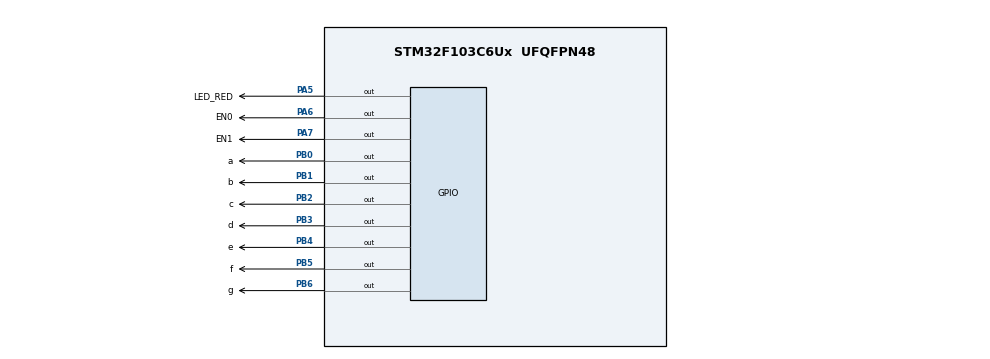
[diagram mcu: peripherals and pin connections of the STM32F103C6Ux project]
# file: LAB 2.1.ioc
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Mcu.Family=STM32F1
Mcu.Name=STM32F103C6Ux
Mcu.Package=UFQFPN48
NVIC.PriorityGroup=NVIC_PRIORITYGROUP_4
NVIC.TIM2_IRQn=true\:0\:0\:false\:false\:true\:true\:true
PA5.GPIO_Label=LED_RED
PA5.Signal=GPIO_Output
PA6.GPIO_Label=EN0
PA6.Signal=GPIO_Output
PA7.GPIO_Label=EN1
PA7.Signal=GPIO_Output
PB0.GPIO_Label=a
PB0.Signal=GPIO_Output
PB1.GPIO_Label=b
PB1.Signal=GPIO_Output
PB2.GPIO_Label=c
PB2.Signal=GPIO_Output
PB3.GPIO_Label=d
PB3.Signal=GPIO_Output
PB4.GPIO_Label=e
PB4.Signal=GPIO_Output
PB5.GPIO_Label=f
PB5.Signal=GPIO_Output
PB6.GPIO_Label=g
PB6.Signal=GPIO_Output
ProjectManager.HeapSize=0x200
ProjectManager.StackSize=0x400
ProjectManager.TargetToolchain=STM32CubeIDE
RCC.APB1Freq_Value=8000000
RCC.APB2Freq_Value=8000000
TIM2.Period=9
TIM2.Prescaler=7999
VP_SYS_VS_ND.Mode=No_Debug
VP_TIM2_VS_ClockSourceINT.Mode=Internal
board=custom

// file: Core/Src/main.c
/* USER CODE BEGIN Header */
/**
  ******************************************************************************
  * @file           : main.c
  * @brief          : Main program body
  ******************************************************************************
  * @attention
  *
  * <h2><center>&copy; Copyright (c) 2025 STMicroelectronics.
  * All rights reserved.</center></h2>
  *
  * This software component is licensed by ST under BSD 3-Clause license,
  * the "License"; You may not use this file except in compliance with the
  * License. You may obtain a copy of the License at:
  *                        opensource.org/licenses/BSD-3-Clause
  *
  ******************************************************************************
  */
/* USER CODE END Header */
#include "main.h"

TIM_HandleTypeDef htim2;

void SystemClock_Config(void);
static void MX_GPIO_Init(void);
static void MX_TIM2_Init(void);
void display7SEG(int num);

int main(void)
{

  /* MCU Configuration--------------------------------------------------------*/

  /* Reset of all peripherals, Initializes the Flash interface and the Systick. */
  HAL_Init();

  /* Configure the system clock */
  SystemClock_Config();

  /* Initialize all configured peripherals */
  MX_GPIO_Init();
  MX_TIM2_Init();
  /* USER CODE BEGIN 2 */
  HAL_TIM_Base_Start_IT (& htim2 );
  /* USER CODE END 2 */

  /* Infinite loop */
  while (1)
  {
  }
}

void display7SEG(int num)
{
	if(num>=0 && num<=9){
	 if(num==0){
		   HAL_GPIO_WritePin(a_GPIO_Port, a_Pin, 0);
		   HAL_GPIO_WritePin(a_GPIO_Port, b_Pin, 0);
		   HAL_GPIO_WritePin(a_GPIO_Port, c_Pin, 0);
		   HAL_GPIO_WritePin(a_GPIO_Port, d_Pin, 0);
		   HAL_GPIO_WritePin(a_GPIO_Port, e_Pin, 0);
		   HAL_GPIO_WritePin(a_GPIO_Port, f_Pin, 0);
		   HAL_GPIO_WritePin(a_GPIO_Port, g_Pin, 1);
	 }
	 if (num==1){
	 		HAL_GPIO_WritePin(a_GPIO_Port, a_Pin, 1);
	 		HAL_GPIO_WritePin(a_GPIO_Port, b_Pin, 0);
	 		HAL_GPIO_WritePin(a_GPIO_Port, c_Pin, 0);
	 		HAL_GPIO_WritePin(a_GPIO_Port, d_Pin, 1);
	 		HAL_GPIO_WritePin(a_GPIO_Port, e_Pin, 1);
	 		HAL_GPIO_WritePin(a_GPIO_Port, f_Pin, 1);
	 		HAL_GPIO_WritePin(a_GPIO_Port, g_Pin, 1);
	 	}
	 	else if (num==2){
	 		HAL_GPIO_WritePin(a_GPIO_Port, a_Pin, 0);
	 		HAL_GPIO_WritePin(a_GPIO_Port, b_Pin, 0);
	 		HAL_GPIO_WritePin(a_GPIO_Port, c_Pin, 1);
	 		HAL_GPIO_WritePin(a_GPIO_Port, d_Pin, 0);
	 		HAL_GPIO_WritePin(a_GPIO_Port, e_Pin, 0);
	 		HAL_GPIO_WritePin(a_GPIO_Port, f_Pin, 1);
	 		HAL_GPIO_WritePin(a_GPIO_Port, g_Pin, 0);
	 	}
	 	else if (num==3){
	 		HAL_GPIO_WritePin(a_GPIO_Port, a_Pin, 0);
	 		HAL_GPIO_WritePin(a_GPIO_Port, b_Pin, 0);
	 		HAL_GPIO_WritePin(a_GPIO_Port, c_Pin, 0);
	 		HAL_GPIO_WritePin(a_GPIO_Port, d_Pin, 0);
	 		HAL_GPIO_WritePin(a_GPIO_Port, e_Pin, 1);
	 		HAL_GPIO_WritePin(a_GPIO_Port, f_Pin, 1);
	 		HAL_GPIO_WritePin(a_GPIO_Port, g_Pin, 0);

	 	}
	 	else if (num==4){
	 		HAL_GPIO_WritePin(a_GPIO_Port, a_Pin, 1);
	 		HAL_GPIO_WritePin(a_GPIO_Port, b_Pin, 0);
	 		HAL_GPIO_WritePin(a_GPIO_Port, c_Pin, 0);
	 		HAL_GPIO_WritePin(a_GPIO_Port, d_Pin, 1);
	 		HAL_GPIO_WritePin(a_GPIO_Port, e_Pin, 1);
	 		HAL_GPIO_WritePin(a_GPIO_Port, f_Pin, 0);
	 		HAL_GPIO_WritePin(a_GPIO_Port, g_Pin, 0);
	 	}
	 	else if (num==5){
	 		HAL_GPIO_WritePin(a_GPIO_Port, a_Pin, 0);
	 		HAL_GPIO_WritePin(a_GPIO_Port, b_Pin, 1);
	 		HAL_GPIO_WritePin(a_GPIO_Port, c_Pin, 0);
	 		HAL_GPIO_WritePin(a_GPIO_Port, d_Pin, 0);
	 		HAL_GPIO_WritePin(a_GPIO_Port, e_Pin, 1);
	 		HAL_GPIO_WritePin(a_GPIO_Port, f_Pin, 0);
	 		HAL_GPIO_WritePin(a_GPIO_Port, g_Pin, 0);
	 	}
	 	else if (num==6){
	 		HAL_GPIO_WritePin(a_GPIO_Port, a_Pin, 0);
	 		HAL_GPIO_WritePin(a_GPIO_Port, b_Pin, 1);
	 		HAL_GPIO_WritePin(a_GPIO_Port, c_Pin, 0);
	 		HAL_GPIO_WritePin(a_GPIO_Port, d_Pin, 0);
	 		HAL_GPIO_WritePin(a_GPIO_Port, e_Pin, 0);
	 		HAL_GPIO_WritePin(a_GPIO_Port, f_Pin, 0);
	 		HAL_GPIO_WritePin(a_GPIO_Port, g_Pin, 0);
	 	}
	 	else if (num==7){
	 		HAL_GPIO_WritePin(a_GPIO_Port, a_Pin, 0);
	 		HAL_GPIO_WritePin(a_GPIO_Port, b_Pin, 0);
	 		HAL_GPIO_WritePin(a_GPIO_Port, c_Pin, 0);
	 		HAL_GPIO_WritePin(a_GPIO_Port, d_Pin, 1);
	 		HAL_GPIO_WritePin(a_GPIO_Port, e_Pin, 1);
	 		HAL_GPIO_WritePin(a_GPIO_Port, f_Pin, 1);
	 		HAL_GPIO_WritePin(a_GPIO_Port, g_Pin, 1);
	 	}
	 	else if (num==8){
	 		HAL_GPIO_WritePin(a_GPIO_Port, a_Pin, 0);
	 		HAL_GPIO_WritePin(a_GPIO_Port, b_Pin, 0);
	 		HAL_GPIO_WritePin(a_GPIO_Port, c_Pin, 0);
	 		HAL_GPIO_WritePin(a_GPIO_Port, d_Pin, 0);
	 		HAL_GPIO_WritePin(a_GPIO_Port, e_Pin, 0);
	 		HAL_GPIO_WritePin(a_GPIO_Port, f_Pin, 0);
	 		HAL_GPIO_WritePin(a_GPIO_Port, g_Pin, 0);
	 	}
	 	else if (num==9){
	 		HAL_GPIO_WritePin(a_GPIO_Port, a_Pin, 0);
	 		HAL_GPIO_WritePin(a_GPIO_Port, b_Pin, 0);
	 		HAL_GPIO_WritePin(a_GPIO_Port, c_Pin, 0);
	 		HAL_GPIO_WritePin(a_GPIO_Port, d_Pin, 0);
	 		HAL_GPIO_WritePin(a_GPIO_Port, e_Pin, 1);
	 		HAL_GPIO_WritePin(a_GPIO_Port, f_Pin, 0);
	 		HAL_GPIO_WritePin(a_GPIO_Port, g_Pin, 0);
	 	}
	}
	else return;
}
void SystemClock_Config(void)
{
  RCC_OscInitTypeDef RCC_OscInitStruct = {0};
  RCC_ClkInitTypeDef RCC_ClkInitStruct = {0};

  /** Initializes the RCC Oscillators according to the specified parameters
  * in the RCC_OscInitTypeDef structure.
  */
  RCC_OscInitStruct.OscillatorType = RCC_OSCILLATORTYPE_HSI;
  RCC_OscInitStruct.HSIState = RCC_HSI_ON;
  RCC_OscInitStruct.HSICalibrationValue = RCC_HSICALIBRATION_DEFAULT;
  RCC_OscInitStruct.PLL.PLLState = RCC_PLL_NONE;
  if (HAL_RCC_OscConfig(&RCC_OscInitStruct) != HAL_OK)
  {
    Error_Handler();
  }
  /** Initializes the CPU, AHB and APB buses clocks
  */
  RCC_ClkInitStruct.ClockType = RCC_CLOCKTYPE_HCLK|RCC_CLOCKTYPE_SYSCLK
                              |RCC_CLOCKTYPE_PCLK1|RCC_CLOCKTYPE_PCLK2;
  RCC_ClkInitStruct.SYSCLKSource = RCC_SYSCLKSOURCE_HSI;
  RCC_ClkInitStruct.AHBCLKDivider = RCC_SYSCLK_DIV1;
  RCC_ClkInitStruct.APB1CLKDivider = RCC_HCLK_DIV1;
  RCC_ClkInitStruct.APB2CLKDivider = RCC_HCLK_DIV1;

  if (HAL_RCC_ClockConfig(&RCC_ClkInitStruct, FLASH_LATENCY_0) != HAL_OK)
  {
    Error_Handler();
  }
}

static void MX_TIM2_Init(void)
{

  TIM_ClockConfigTypeDef sClockSourceConfig = {0};
  TIM_MasterConfigTypeDef sMasterConfig = {0};

  htim2.Instance = TIM2;
  htim2.Init.Prescaler = 7999;
  htim2.Init.CounterMode = TIM_COUNTERMODE_UP;
  htim2.Init.Period = 9;
  htim2.Init.ClockDivision = TIM_CLOCKDIVISION_DIV1;
  htim2.Init.AutoReloadPreload = TIM_AUTORELOAD_PRELOAD_DISABLE;
  if (HAL_TIM_Base_Init(&htim2) != HAL_OK)
  {
    Error_Handler();
  }
  sClockSourceConfig.ClockSource = TIM_CLOCKSOURCE_INTERNAL;
  if (HAL_TIM_ConfigClockSource(&htim2, &sClockSourceConfig) != HAL_OK)
  {
    Error_Handler();
  }
  sMasterConfig.MasterOutputTrigger = TIM_TRGO_RESET;
  sMasterConfig.MasterSlaveMode = TIM_MASTERSLAVEMODE_DISABLE;
  if (HAL_TIMEx_MasterConfigSynchronization(&htim2, &sMasterConfig) != HAL_OK)
  {
    Error_Handler();
  }

}

static void MX_GPIO_Init(void)
{
  GPIO_InitTypeDef GPIO_InitStruct = {0};

  /* GPIO Ports Clock Enable */
  __HAL_RCC_GPIOA_CLK_ENABLE();
  __HAL_RCC_GPIOB_CLK_ENABLE();

  /*Configure GPIO pin Output Level */
  HAL_GPIO_WritePin(GPIOA, LED_RED_Pin|EN0_Pin|EN1_Pin, GPIO_PIN_RESET);

  /*Configure GPIO pin Output Level */
  HAL_GPIO_WritePin(GPIOB, a_Pin|b_Pin|c_Pin|d_Pin
                          |e_Pin|f_Pin|g_Pin, GPIO_PIN_RESET);

  /*Configure GPIO pins : LED_RED_Pin EN0_Pin EN1_Pin */
  GPIO_InitStruct.Pin = LED_RED_Pin|EN0_Pin|EN1_Pin;
  GPIO_InitStruct.Mode = GPIO_MODE_OUTPUT_PP;
  GPIO_InitStruct.Pull = GPIO_NOPULL;
  GPIO_InitStruct.Speed = GPIO_SPEED_FREQ_LOW;
  HAL_GPIO_Init(GPIOA, &GPIO_InitStruct);

  /*Configure GPIO pins : a_Pin b_Pin c_Pin d_Pin
                           e_Pin f_Pin g_Pin */
  GPIO_InitStruct.Pin = a_Pin|b_Pin|c_Pin|d_Pin
                          |e_Pin|f_Pin|g_Pin;
  GPIO_InitStruct.Mode = GPIO_MODE_OUTPUT_PP;
  GPIO_InitStruct.Pull = GPIO_NOPULL;
  GPIO_InitStruct.Speed = GPIO_SPEED_FREQ_LOW;
  HAL_GPIO_Init(GPIOB, &GPIO_InitStruct);

}

/* USER CODE BEGIN 4 */
int counter = 50;
int led_idx = 0;
void HAL_TIM_PeriodElapsedCallback ( TIM_HandleTypeDef * htim )
{
	counter--;
	if(counter<=0){
		counter = 50;
		HAL_GPIO_WritePin(EN0_GPIO_Port, EN0_Pin, 1);
		HAL_GPIO_WritePin(EN1_GPIO_Port, EN1_Pin, 1);

	if(led_idx == 0){
		display7SEG(1);
		HAL_GPIO_WritePin(EN0_GPIO_Port, EN0_Pin, 0);
		led_idx = 1;
	}

	else if(led_idx == 1){
		display7SEG(2);
		HAL_GPIO_WritePin(EN1_GPIO_Port, EN1_Pin, 0);
		led_idx = 0;
	}
  }
}
/* USER CODE END 4 */

void Error_Handler(void)
{
  __disable_irq();
  while (1)
  {
  }
}

/************************ (C) COPYRIGHT STMicroelectronics *****END OF FILE****/
